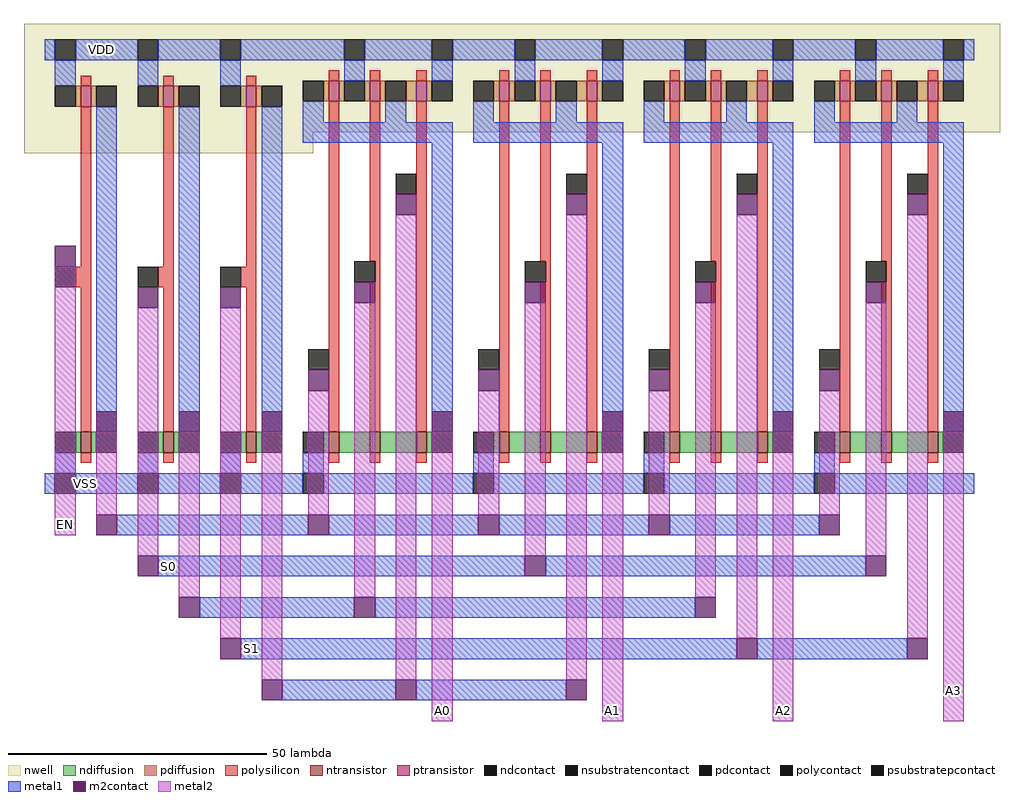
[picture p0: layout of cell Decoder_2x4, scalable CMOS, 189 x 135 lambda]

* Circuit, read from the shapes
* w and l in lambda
.subckt Decoder_2x4 A0 A1 A2 A3 EN S0 S1 VDD VSS
M1 NAND3_0/A EN VSS VSS nfet w=4 l=2
M2 NAND3_0/B S0 VSS VSS nfet w=4 l=2
M3 NAND3_0/C S1 VSS VSS nfet w=4 l=2
M4 n1 NAND3_0/A VSS VSS nfet w=4 l=2
M5 n2 NAND3_0/B n1 VSS nfet w=4 l=2
M6 A0 NAND3_0/C n2 VSS nfet w=4 l=2
M7 n3 NAND3_0/A VSS VSS nfet w=4 l=2
M8 n4 S0 n3 VSS nfet w=4 l=2
M9 A1 NAND3_0/C n4 VSS nfet w=4 l=2
M10 n5 NAND3_0/A VSS VSS nfet w=4 l=2
M11 n6 NAND3_0/B n5 VSS nfet w=4 l=2
M12 A2 S1 n6 VSS nfet w=4 l=2
M13 n7 NAND3_0/A VSS VSS nfet w=4 l=2
M14 n8 S0 n7 VSS nfet w=4 l=2
M15 A3 S1 n8 VSS nfet w=4 l=2
M16 NAND3_0/A EN VDD VDD pfet w=4 l=2
M17 NAND3_0/B S0 VDD VDD pfet w=4 l=2
M18 NAND3_0/C S1 VDD VDD pfet w=4 l=2
M19 VDD NAND3_0/A A0 VDD pfet w=4 l=2
M20 A0 NAND3_0/B VDD VDD pfet w=4 l=2
M21 VDD NAND3_0/C A0 VDD pfet w=4 l=2
M22 VDD NAND3_0/A A1 VDD pfet w=4 l=2
M23 A1 S0 VDD VDD pfet w=4 l=2
M24 VDD NAND3_0/C A1 VDD pfet w=4 l=2
M25 VDD NAND3_0/A A2 VDD pfet w=4 l=2
M26 A2 NAND3_0/B VDD VDD pfet w=4 l=2
M27 VDD S1 A2 VDD pfet w=4 l=2
M28 VDD NAND3_0/A A3 VDD pfet w=4 l=2
M29 A3 S0 VDD VDD pfet w=4 l=2
M30 VDD S1 A3 VDD pfet w=4 l=2
.ends

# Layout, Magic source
magic
tech scmos
<< metal1 >>
rect -54 84 -42 88
rect -54 0 -42 4
rect -46 -8 -9 -4
rect -5 -8 24 -4
rect 28 -8 57 -4
rect 61 -8 90 -4
rect -38 -16 33 -12
rect 37 -16 99 -12
rect -30 -24 0 -20
rect 4 -24 66 -20
rect -22 -32 74 -28
rect 78 -32 107 -28
rect -14 -40 8 -36
rect 12 -40 41 -36
<< m2contact >>
rect 8 54 12 58
rect 41 54 45 58
rect 74 54 78 58
rect 107 54 111 58
rect -58 44 -54 48
rect -42 36 -38 40
rect -26 36 -22 40
rect 0 37 4 41
rect 33 37 37 41
rect 66 37 70 41
rect 99 37 103 41
rect -9 20 -5 24
rect 24 20 28 24
rect 57 20 61 24
rect 90 20 94 24
rect -50 12 -46 16
rect -34 12 -30 16
rect -18 12 -14 16
rect 15 12 19 16
rect 48 12 52 16
rect 81 12 85 16
rect 114 12 118 16
rect -50 -8 -46 -4
rect -9 -8 -5 -4
rect 24 -8 28 -4
rect 57 -8 61 -4
rect 90 -8 94 -4
rect -42 -16 -38 -12
rect 33 -16 37 -12
rect 99 -16 103 -12
rect -34 -24 -30 -20
rect 0 -24 4 -20
rect 66 -24 70 -20
rect -26 -32 -22 -28
rect 74 -32 78 -28
rect 107 -32 111 -28
rect -18 -40 -14 -36
rect 8 -40 12 -36
rect 41 -40 45 -36
<< metal2 >>
rect -58 -8 -54 44
rect -50 -4 -46 12
rect -42 -12 -38 36
rect -34 -20 -30 12
rect -26 -28 -22 36
rect -18 -36 -14 12
rect -9 -4 -5 20
rect 0 -20 4 37
rect 8 -36 12 54
rect 15 -44 19 12
rect 24 -4 28 20
rect 33 -12 37 37
rect 41 -36 45 54
rect 48 -44 52 12
rect 57 -4 61 20
rect 66 -20 70 37
rect 74 -28 78 54
rect 81 -44 85 12
rect 90 -4 94 20
rect 99 -12 103 37
rect 107 -28 111 54
rect 114 -44 118 12
use NAND3  NAND3_3
transform 1 0 87 0 1 0
box -5 0 38 91
use NAND3  NAND3_2
transform 1 0 54 0 1 0
box -5 0 38 91
use NAND3  NAND3_1
transform 1 0 21 0 1 0
box -5 0 38 91
use NAND3  NAND3_0
transform 1 0 -12 0 1 0
box -5 0 38 91
use INV  INV_2
transform 1 0 -28 0 1 0
box -4 0 20 91
use INV  INV_1
transform 1 0 -44 0 1 0
box -4 0 20 91
use INV  INV_0
transform 1 0 -60 0 1 0
box -4 0 20 91
<< labels >>
rlabel metal2 -56 -6 -56 -6 1 EN
rlabel metal1 -52 2 -52 2 1 VSS
rlabel metal1 -49 86 -49 86 1 VDD
rlabel metal1 -36 -14 -36 -14 1 S0
rlabel metal1 -20 -30 -20 -30 1 S1
rlabel metal2 116 -38 116 -38 1 A3
rlabel metal2 83 -42 83 -42 1 A2
rlabel metal2 50 -42 50 -42 1 A1
rlabel metal2 17 -42 17 -42 1 A0
<< end >>

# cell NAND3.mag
magic
tech scmos
<< nwell >>
rect -5 70 38 91
<< ntransistor >>
rect 7 8 9 12
rect 15 8 17 12
rect 24 8 26 12
<< ptransistor >>
rect 7 76 9 80
rect 15 76 17 80
rect 24 76 26 80
<< ndiffusion >>
rect 6 8 7 12
rect 9 8 15 12
rect 17 8 24 12
rect 26 8 27 12
<< pdiffusion >>
rect 6 76 7 80
rect 9 76 10 80
rect 14 76 15 80
rect 17 76 18 80
rect 22 76 24 80
rect 26 76 27 80
<< ndcontact >>
rect 2 8 6 12
rect 27 8 31 12
<< pdcontact >>
rect 2 76 6 80
rect 10 76 14 80
rect 18 76 22 80
rect 27 76 31 80
<< psubstratepcontact >>
rect 2 0 6 4
<< nsubstratencontact >>
rect 10 84 14 88
rect 27 84 31 88
<< polysilicon >>
rect 7 80 9 82
rect 15 80 17 82
rect 24 80 26 82
rect 7 12 9 76
rect 15 45 17 76
rect 16 41 17 45
rect 15 12 17 41
rect 24 12 26 76
rect 7 6 9 8
rect 15 6 17 8
rect 24 6 26 8
<< polycontact >>
rect 3 24 7 28
rect 20 58 24 62
rect 12 41 16 45
<< metal1 >>
rect 0 84 10 88
rect 14 84 27 88
rect 31 84 33 88
rect 10 80 14 84
rect 27 80 31 84
rect 2 72 6 76
rect 18 72 22 76
rect 2 68 31 72
rect 27 12 31 68
rect 2 4 6 8
rect 0 0 2 4
rect 6 0 33 4
<< labels >>
rlabel nsubstratencontact 12 86 12 86 1 VDD
rlabel nsubstratencontact 29 86 29 86 1 VDD
rlabel polycontact 5 26 5 26 1 A
rlabel polycontact 14 43 14 43 1 B
rlabel polycontact 22 60 22 60 1 C
rlabel metal1 29 34 29 34 1 Y
rlabel psubstratepcontact 4 2 4 2 1 VSS
<< end >>

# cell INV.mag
magic
tech scmos
<< nwell >>
rect -4 66 20 91
<< ntransistor >>
rect 7 8 9 12
<< ptransistor >>
rect 7 75 9 79
<< ndiffusion >>
rect 6 8 7 12
rect 9 8 10 12
<< pdiffusion >>
rect 6 75 7 79
rect 9 75 10 79
<< ndcontact >>
rect 2 8 6 12
rect 10 8 14 12
<< pdcontact >>
rect 2 75 6 79
rect 10 75 14 79
<< psubstratepcontact >>
rect 2 0 6 4
<< nsubstratencontact >>
rect 2 84 6 88
<< polysilicon >>
rect 7 79 9 81
rect 7 44 9 75
rect 6 40 9 44
rect 7 12 9 40
rect 7 6 9 8
<< polycontact >>
rect 2 40 6 44
<< metal1 >>
rect 0 84 2 88
rect 6 84 16 88
rect 2 79 6 84
rect 10 12 14 75
rect 2 4 6 8
rect 0 0 2 4
rect 6 0 16 4
<< labels >>
rlabel metal1 1 2 1 2 2 VSS
rlabel metal1 12 17 12 17 1 Y
rlabel metal1 1 86 1 86 4 VDD
rlabel polycontact 4 42 4 42 1 A
<< end >>
